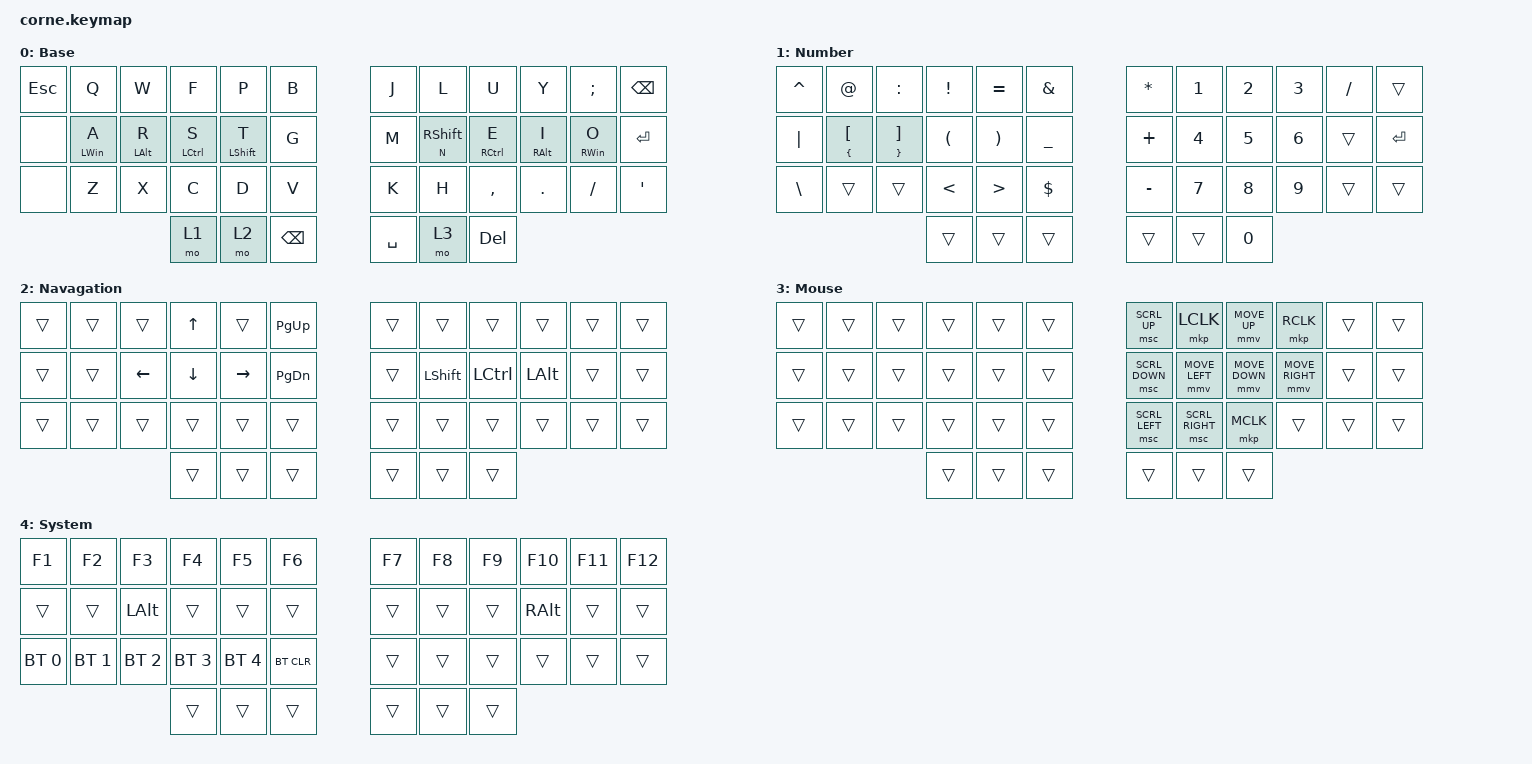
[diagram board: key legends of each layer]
/*
 * Copyright (c) 2020 The ZMK Contributors
 *
 * SPDX-License-Identifier: MIT
 */

#include <behaviors.dtsi>
#include <dt-bindings/zmk/bt.h>
#include <dt-bindings/zmk/keys.h>
#include <dt-bindings/zmk/pointing.h>

/ {
    combos { compatible = "zmk,combos"; };

    behaviors {
        HMR: HMR {
            compatible = "zmk,behavior-hold-tap";
            label = "HMR";
            bindings = <&kp>, <&kp>;

            #binding-cells = <2>;
            tapping-term-ms = <280>;
            quick-tap-ms = <175>;
            flavor = "tap-preferred";
            hold-trigger-key-positions = <0 1 2 3 4 5 12 13 14 15 16 17 24 25 26 27 28 29 36 37 38 39 40 41 19>;
            hold-trigger-on-release;
        };

        HML: HML {
            compatible = "zmk,behavior-hold-tap";
            label = "HML";
            bindings = <&kp>, <&kp>;

            #binding-cells = <2>;
            tapping-term-ms = <280>;
            quick-tap-ms = <175>;
            flavor = "tap-preferred";
            hold-trigger-key-positions = <6 7 8 9 10 11 18 19 20 21 22 23 30 31 32 33 34 35 39 40 41 36 37 38>;
            hold-trigger-on-release;
        };
    };

    keymap {
        compatible = "zmk,keymap";

        default_layer {
            // -----------------------------------------------------------------------------------------
            // |  TAB |  Q  |  W  |  E  |  R  |  T  |   |  Y  |  U   |  I  |  O  |  P  | BKSP |
            // | CTRL |  A  |  S  |  D  |  F  |  G  |   |  H  |  J   |  K  |  L  |  ;  |  '   |
            // | SHFT |  Z  |  X  |  C  |  V  |  B  |   |  N  |  M   |  ,  |  .  |  /  | ESC  |
            //                    | GUI | LWR | SPC |   | ENT | RSE  | ALT |

            display-name = "Base";
            bindings = <
&kp ESC  &kp Q            &kp W            &kp F                &kp P              &kp B            &kp J      &kp L               &kp U                 &kp Y             &kp SEMI          &kp BSPC
&none    &HML LEFT_WIN A  &HML LEFT_ALT R  &HML LEFT_CONTROL S  &HML LEFT_SHIFT T  &kp G            &kp M      &HMR N RIGHT_SHIFT  &HMR RIGHT_CONTROL E  &HMR RIGHT_ALT I  &HMR RIGHT_WIN O  &kp ENTER
&none    &kp Z            &kp X            &kp C                &kp D              &kp V            &kp K      &kp H               &kp COMMA             &kp DOT           &kp FSLH          &kp SINGLE_QUOTE
                                           &mo 1                &mo 2              &kp BACKSPACE    &kp SPACE  &mo 3               &kp DELETE
            >;
        };

        number_layer {
            bindings = <
&kp CARET      &kp AT_SIGN                  &kp COLON                      &kp EXCLAMATION       &kp EQUAL              &kp AMPERSAND     &kp ASTERISK  &kp N1  &kp N2  &kp N3  &kp SLASH  &trans
&kp PIPE       &mt LEFT_BRACE LEFT_BRACKET  &mt RIGHT_BRACE RIGHT_BRACKET  &kp LEFT_PARENTHESIS  &kp RIGHT_PARENTHESIS  &kp UNDERSCORE    &kp PLUS      &kp N4  &kp N5  &kp N6  &trans     &kp ENTER
&kp BACKSLASH  &trans                       &trans                         &kp LESS_THAN         &kp GREATER_THAN       &kp DOLLAR        &kp MINUS     &kp N7  &kp N8  &kp N9  &trans     &trans
                                                                           &trans                &trans                 &trans            &trans        &trans  &kp N0
            >;

            label = "Number";
        };

        navegation_layer {
            bindings = <
&trans  &trans  &trans    &kp UP_ARROW  &trans     &kp PAGE_UP      &trans  &trans      &trans            &trans        &trans  &trans
&trans  &trans  &kp LEFT  &kp DOWN      &kp RIGHT  &kp PAGE_DOWN    &trans  &kp LSHIFT  &kp LEFT_CONTROL  &kp LEFT_ALT  &trans  &trans
&trans  &trans  &trans    &trans        &trans     &trans           &trans  &trans      &trans            &trans        &trans  &trans
                          &trans        &trans     &trans           &trans  &trans      &trans
            >;

            label = "Navagation";
        };

        mouse_layer {
            bindings = <
&trans  &trans  &trans  &trans  &trans  &trans    &msc SCRL_UP    &mkp LCLK        &mmv MOVE_UP    &mkp RCLK        &trans  &trans
&trans  &trans  &trans  &trans  &trans  &trans    &msc SCRL_DOWN  &mmv MOVE_LEFT   &mmv MOVE_DOWN  &mmv MOVE_RIGHT  &trans  &trans
&trans  &trans  &trans  &trans  &trans  &trans    &msc SCRL_LEFT  &msc SCRL_RIGHT  &mkp MCLK       &trans           &trans  &trans
                        &trans  &trans  &trans    &trans          &trans           &trans
            >;

            label = "Mouse";
        };

        system_layer {
            bindings = <
&kp F1        &kp F2        &kp F3        &kp F4        &kp F5        &kp F6        &kp F7  &kp F8  &kp F9  &kp F10   &kp F11  &kp F12
&trans        &trans        &kp LALT      &trans        &trans        &trans        &trans  &trans  &trans  &kp RALT  &trans   &trans
&bt BT_SEL 0  &bt BT_SEL 1  &bt BT_SEL 2  &bt BT_SEL 3  &bt BT_SEL 4  &bt BT_CLR    &trans  &trans  &trans  &trans    &trans   &trans
                                          &trans        &trans        &trans        &trans  &trans  &trans
            >;

            label = "System";
        };
    };

    conditional_layers {
        compatible = "zmk,conditional-layers";

        system_layer_condition {
            if-layers = <1 2>;
            then-layer = <4>;
        };
    };
};
